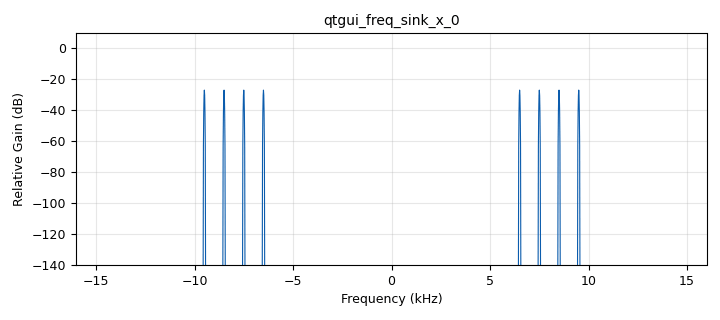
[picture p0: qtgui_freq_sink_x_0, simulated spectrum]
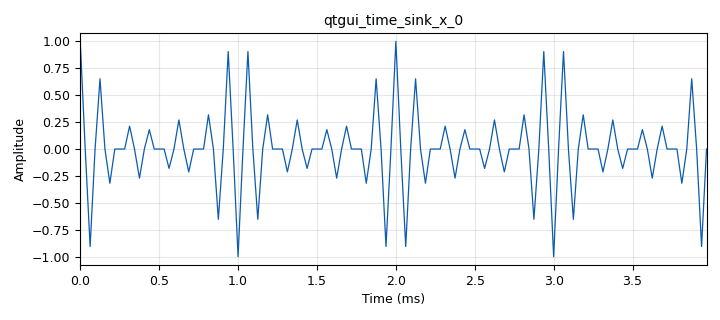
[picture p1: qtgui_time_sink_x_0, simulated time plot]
options:
  parameters:
    author: Alfonso Sanchez y Sergio Angarita
    copyright: '2022'
    generate_options: qt_gui
    id: punto3
    output_language: python
    title: Punto 3
  states: {}

blocks:
- name: frec_a
  id: variable_qtgui_range
  parameters:
    start: '0'
    step: '100'
    stop: '30000'
    value: '9000'
  states: {}
- name: frec_a_0
  id: variable_qtgui_range
  parameters:
    start: '0'
    step: '100'
    stop: '30000'
    value: '8500'
  states: {}
- name: frec_a_1
  id: variable_qtgui_range
  parameters:
    start: '0'
    step: '100'
    stop: '30000'
    value: '8000'
  states: {}
- name: samp_rate
  id: variable
  parameters:
    value: '32000'
  states: {}
- name: analog_sig_source_x_0
  id: analog_sig_source_x
  parameters:
    amp: '1'
    freq: frec_a
    offset: '0'
    phase: '0'
    samp_rate: samp_rate
    type: float
    waveform: analog.GR_COS_WAVE
  states: {}
- name: analog_sig_source_x_0_0
  id: analog_sig_source_x
  parameters:
    amp: '1'
    freq: frec_a_0
    offset: '0'
    phase: '0'
    samp_rate: samp_rate
    type: float
    waveform: analog.GR_COS_WAVE
  states: {}
- name: analog_sig_source_x_0_1
  id: analog_sig_source_x
  parameters:
    amp: '1'
    freq: frec_a_1
    offset: '0'
    phase: '0'
    samp_rate: samp_rate
    type: float
    waveform: analog.GR_COS_WAVE
  states: {}
- name: blocks_multiply_xx_0
  id: blocks_multiply_xx
  parameters:
    num_inputs: '3'
    type: float
  states: {}
- name: blocks_throttle_0
  id: blocks_throttle
  parameters:
    samples_per_second: samp_rate
    type: float
  states: {}
- name: qtgui_freq_sink_x_0
  id: qtgui_freq_sink_x
  parameters:
    bw: samp_rate
    fc: '0'
    fftsize: '2048'
    type: float
  states: {}
- name: qtgui_time_sink_x_0
  id: qtgui_time_sink_x
  parameters:
    size: '128'
    srate: samp_rate
    type: float
  states: {}

connections:
- [analog_sig_source_x_0, '0', blocks_multiply_xx_0, '0']
- [analog_sig_source_x_0_0, '0', blocks_multiply_xx_0, '2']
- [analog_sig_source_x_0_1, '0', blocks_multiply_xx_0, '1']
- [blocks_multiply_xx_0, '0', blocks_throttle_0, '0']
- [blocks_throttle_0, '0', qtgui_freq_sink_x_0, '0']
- [blocks_throttle_0, '0', qtgui_time_sink_x_0, '0']

metadata:
  file_format: 1
